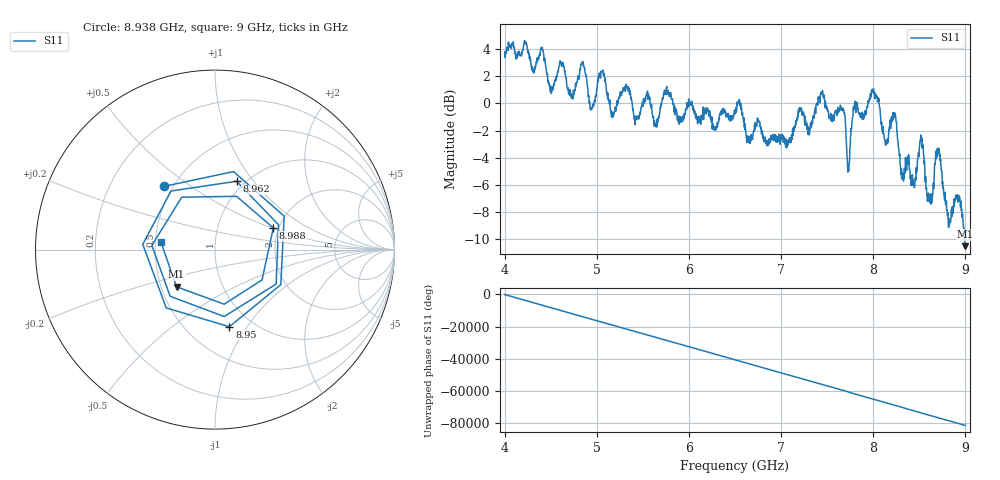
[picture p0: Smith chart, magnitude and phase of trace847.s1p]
! Created with skrf 1.8.0 (http://scikit-rf.org).
# Hz S RI R 50.0
!freq ReS11 ImS11
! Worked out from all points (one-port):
!   1601 points, 4 GHz to 9 GHz, reference 50 ohm
!   lowest |S11| = -10.5 dB at 8.997 GHz (marker M1), VSWR 1.85, Z = 30 - j13.7 ohm
!   |S11| at or under -10 dB: 8.990601 GHz to end of sweep
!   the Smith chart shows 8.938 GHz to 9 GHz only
!   S11 on the Smith chart (normalised r, x): 8.938 GHz: 0.45, +0.40; 8.95 GHz: 0.78, -0.83; 8.962 GHz: 0.91, +0.83; 8.988 GHz: 1.87, +0.51; 9 GHz: 0.54, +0.05
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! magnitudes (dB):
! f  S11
! 4 GHz  3.6
! 4.403 GHz  4.1
! 4.512 GHz  0.9
! 4.625 GHz  2.8
! 4.719 GHz  0.5
! 4.85 GHz  3.0
! 4.944 GHz  -0.4
! 5.05 GHz  2.4
! 5.25 GHz  0.6
! 5.875 GHz  -1.2
! 6.5 GHz  -0.8
! 7.125 GHz  -1.9
! 7.45 GHz  0.9
! 7.75 GHz  -3.2
! 7.803 GHz  0.0
! 8.003 GHz  1.1
! 8.375 GHz  -4.0
! 8.438 GHz  -5.9
! 8.525 GHz  -2.8
! 8.612 GHz  -6.7
! 8.703 GHz  -3.5
! 8.819 GHz  -9.1
! 8.938 GHz  -6.9
! 8.95 GHz  -7.2
! 8.962 GHz  -8.0
! 8.988 GHz  -9.2
! 8.997 GHz  -10.5
! 9 GHz  -10.4
